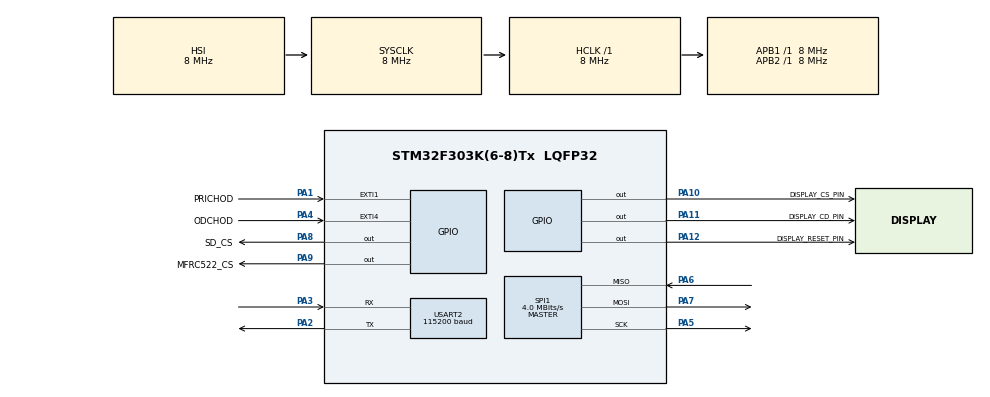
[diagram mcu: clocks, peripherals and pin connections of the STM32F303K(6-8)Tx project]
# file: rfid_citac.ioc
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FATFS._USE_LFN=1
Mcu.Family=STM32F3
Mcu.Name=STM32F303K(6-8)Tx
Mcu.Package=LQFP32
NVIC.EXTI1_IRQn=true\:0\:0\:false\:false\:true\:true\:true\:true
NVIC.EXTI4_IRQn=true\:0\:0\:false\:false\:true\:true\:true\:true
NVIC.PriorityGroup=NVIC_PRIORITYGROUP_4
PA1.GPIO_Label=PRICHOD
PA1.GPIO_ModeDefaultEXTI=GPIO_MODE_IT_FALLING
PA1.GPIO_PuPd=GPIO_PULLUP
PA1.Signal=GPXTI1
PA10.GPIO_Label=DISPLAY_CS_PIN
PA10.GPIO_Speed=GPIO_SPEED_FREQ_HIGH
PA10.PinState=GPIO_PIN_SET
PA10.Signal=GPIO_Output
PA11.GPIO_Label=DISPLAY_CD_PIN
PA11.GPIO_Speed=GPIO_SPEED_FREQ_HIGH
PA11.Signal=GPIO_Output
PA12.GPIO_Label=DISPLAY_RESET_PIN
PA12.GPIO_Speed=GPIO_SPEED_FREQ_HIGH
PA12.Signal=GPIO_Output
PA2.Mode=Asynchronous
PA2.Signal=USART2_TX
PA3.Mode=Asynchronous
PA3.Signal=USART2_RX
PA4.GPIO_Label=ODCHOD
PA4.GPIO_ModeDefaultEXTI=GPIO_MODE_IT_FALLING
PA4.GPIO_PuPd=GPIO_PULLUP
PA4.Signal=GPXTI4
PA5.GPIO_PuPd=GPIO_PULLUP
PA5.GPIO_Speed=GPIO_SPEED_FREQ_LOW
PA5.Mode=Full_Duplex_Master
PA5.Signal=SPI1_SCK
PA6.GPIO_PuPd=GPIO_PULLUP
PA6.GPIO_Speed=GPIO_SPEED_FREQ_LOW
PA6.Mode=Full_Duplex_Master
PA6.Signal=SPI1_MISO
PA7.GPIO_PuPd=GPIO_PULLUP
PA7.GPIO_Speed=GPIO_SPEED_FREQ_LOW
PA7.Mode=Full_Duplex_Master
PA7.Signal=SPI1_MOSI
PA8.GPIO_Label=SD_CS
PA8.PinState=GPIO_PIN_SET
PA8.Signal=GPIO_Output
PA9.GPIO_Label=MFRC522_CS
PA9.GPIO_Speed=GPIO_SPEED_FREQ_HIGH
PA9.PinState=GPIO_PIN_SET
PA9.Signal=GPIO_Output
ProjectManager.HeapSize=0x200
ProjectManager.StackSize=0x400
ProjectManager.TargetToolchain=STM32CubeIDE
RCC.AHBFreq_Value=8000000
RCC.APB1Freq_Value=8000000
RCC.APB2Freq_Value=8000000
RCC.CortexFreq_Value=8000000
RCC.HSE_VALUE=8000000
RCC.HSI_VALUE=8000000
RCC.SYSCLKFreq_VALUE=8000000
SPI1.CalculateBaudRate=4.0 MBits/s
SPI1.DataSize=SPI_DATASIZE_8BIT
SPI1.Direction=SPI_DIRECTION_2LINES
SPI1.Mode=SPI_MODE_MASTER
SPI1.NSSPMode=SPI_NSS_PULSE_DISABLE
SPI1.VirtualType=VM_MASTER
USART2.BaudRate=115200
USART2.VirtualMode-Asynchronous=VM_ASYNC
VP_FATFS_VS_Generic.Mode=User_defined
VP_RTC_VS_RTC_Activate.Mode=RTC_Enabled
VP_RTC_VS_RTC_Calendar.Mode=RTC_Calendar
board=custom

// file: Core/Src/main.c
/* USER CODE BEGIN Header */
/**
  ******************************************************************************
  * @file           : main.c
  * @brief          : Main program body
  ******************************************************************************
  * @attention
  *
  * Copyright (c) 2023 STMicroelectronics.
  * All rights reserved.
  *
  * This software is licensed under terms that can be found in the LICENSE file
  * in the root directory of this software component.
  * If no LICENSE file comes with this software, it is provided AS-IS.
  *
  ******************************************************************************
  */
/* USER CODE END Header */
#include "main.h"
#include "fatfs.h"
#include "rtc.h"
#include "spi.h"
#include "usart.h"
#include "gpio.h"

/* USER CODE BEGIN Includes */
#include "string.h"
#include "mfrc522.h"
#include "stdio.h"
#include "stm32f3xx_hal.h"
#include "stm32f3xx_hal_rtc.h"
#include "stm32f3xx_ll_rtc.h"
#include "stdio.h"
#include "string.h"
#include "stdlib.h"
#include "time.h"
#include "stm32f3xx_hal_conf.h"
#include "stm32f3xx_it.h"

#include <string.h>
/* USER CODE END Includes */

/* USER CODE BEGIN PV */
char version_buffer[128];
char message_buffer[128];
char buf_hex[12];

uint8_t uid_card_found = 0;

RTC_TimeTypeDef curTime;
RTC_DateTypeDef curDate;
UART_HandleTypeDef huart1;
char bld[40];
char tm[40];
char buf[25];
char *months[] = {"???", "Jan", "Feb", "Mar", "Apr", "May", "Jun", "Jul", "Aug", "Sep", "Oct", "Nov", "Dec"};
char *delim = " :";

#define BUFFER_SIZE 128
#define UART_BUFFER_SIZE 128

char buff[BUFFER_SIZE];
char uart_buf[UART_BUFFER_SIZE];

char bufftest[BUFFER_SIZE];

char path[BUFFER_SIZE];

uint8_t testMinutes = 0;
uint8_t compareMinutes = 0;

FATFS fs;
FATFS *pfs;
FIL fil;
FRESULT fres;
DWORD fre_clust;
uint32_t totalSpace, freeSpace;
uint32_t uart_buf_len;

uint8_t r;
uint8_t buttonState = 0;
uint8_t failedCard = 0;
/* USER CODE END PV */

void SystemClock_Config(void);

int main(void)
{

  /* MCU Configuration--------------------------------------------------------*/

  /* Reset of all peripherals, Initializes the Flash interface and the Systick. */
  HAL_Init();

  /* Configure the system clock */
  SystemClock_Config();

  /* Initialize all configured peripherals */
  MX_GPIO_Init();
  MX_SPI1_Init();
  MX_USART2_UART_Init();
  MX_FATFS_Init();
  MX_RTC_Init();
  /* USER CODE BEGIN 2 */

  resetBuffer(buff, BUFFER_SIZE);
  resetBuffer(uart_buf, UART_BUFFER_SIZE);
  resetBuffer(path, BUFFER_SIZE);

  uint8_t not_vypis = 0;
  HAL_Delay(1000);

  ILI9163_RegisterCallback(SPI_TransmitData);
  HAL_Delay(50);

  lcdInitialise(192);
  lcdClearDisplay(decodeRgbValue(0, 0, 0));
  lcdPutS("Stlacte tlacidlo...", lcdTextX(2), lcdTextY(8), decodeRgbValue(255, 255, 255), decodeRgbValue(0, 0, 0));

  HAL_Delay(1000);

  HAL_RTC_GetTime(&hrtc, &curTime, RTC_FORMAT_BIN);
  HAL_RTC_GetDate(&hrtc, &curDate, RTC_FORMAT_BIN);// Replace rtclock.breakTime(rtclock.now(), &curTime);
  RTC_DateTypeDef sDate;
  RTC_TimeTypeDef sTime;
  sDate.Year = 0x23; // Set the year (e.g., 2023 - 2000)
  sDate.Month = RTC_MONTH_JANUARY;
  sDate.Date = 0x1;
  sTime.Hours = 0x12;
  sTime.Minutes = 0x00;
  sTime.Seconds = 0x00;

  HAL_RTC_GetTime(&hrtc, &sTime, RTC_FORMAT_BIN);

  setBuildTime(&sDate, &sTime);

  if (HAL_RTC_SetTime(&hrtc, &sTime, RTC_FORMAT_BIN) != HAL_OK)
  {
    Error_Handler();
  }

  if (HAL_RTC_SetDate(&hrtc, &sDate, RTC_FORMAT_BIN) != HAL_OK)
  {
    Error_Handler();
  }

  // Initialize MFRC522 and read the version
  uint8_t status;
  char card_buffer[4];

  uint8_t testCardFlag = 0;
  int diffMinutes;

  MFRC522_PCD_Init();
  HAL_Delay(1000);

  /* USER CODE END 2 */
  // Enter sleep mode
   HAL_SuspendTick();
   HAL_PWR_EnterSLEEPMode(PWR_MAINREGULATOR_ON, PWR_SLEEPENTRY_WFI);

  /* Infinite loop */
  while (1)
  {

    /* USER CODE BEGIN 3 */
	  showClock(1);

	  if (buttonState > 0)
	  {
		  if (not_vypis == 0)
		  {
			  HAL_Delay(100);
			  lcdClearDisplay(decodeRgbValue(0, 0, 0));
			  lcdPutS("Prilozte kartu...", lcdTextX(2), lcdTextY(8), decodeRgbValue(255, 255, 255), decodeRgbValue(0, 0, 0));
			  HAL_Delay(100);
			  not_vypis = 1;
		  }

		  // Read card
		  if (uid_card_found == 0)
		  {
			  status = STATUS_ERROR;
			  status = MFRC522_PICC_RequestA(PICC_CMD_REQA, card_buffer);

			  if(status != STATUS_OK && !testCardFlag){
				  showClock(1);
				  compareMinutes = curTime.Minutes;
				  testCardFlag = 1;
			  }

			  else if(testCardFlag){
				  diffMinutes = testMinutes - compareMinutes;
				  if( diffMinutes < 0){
				  		diffMinutes = diffMinutes + 60;
				  }
				  if(diffMinutes >= 3){
					  buttonState = 0;
					  uid_card_found = 0;
					  not_vypis = 0;
					  testCardFlag = 0;
					  lcdClearDisplay(decodeRgbValue(0, 0, 0));
					  lcdPutS("Stlacte tlacidlo...", lcdTextX(2), lcdTextY(8), decodeRgbValue(255, 255, 255), decodeRgbValue(0, 0, 0));
		  			  // Enter sleep mode
					  HAL_SuspendTick();
					  HAL_PWR_EnterSLEEPMode(PWR_MAINREGULATOR_ON, PWR_SLEEPENTRY_WFI);
				  }
			  }

			  if (status == STATUS_OK)
		  		  {
		  			  memset(message_buffer, 0, sizeof(message_buffer));
		  			  snprintf(message_buffer, sizeof(message_buffer), "\n\r%X,%X,%X", card_buffer[0], card_buffer[1], card_buffer[2]);

		  			  HAL_UART_Transmit(&huart2, (uint8_t *)message_buffer, sizeof(message_buffer), 250);

		  			  status = MFRC522_PICC_Anticollision(card_buffer);
		  			  if (status == STATUS_OK)
		  			  {
		  				  memset(message_buffer, 0, sizeof(message_buffer));
		  				  snprintf(message_buffer, sizeof(message_buffer), "\n\rUID: %X %X %X %X", card_buffer[0], card_buffer[1], card_buffer[2], card_buffer[3]);

		  				  uid_card_found = 1;

		  				  HAL_UART_Transmit(&huart2, (uint8_t *)message_buffer, sizeof(message_buffer), 250);

		  			  }
		  		  }
		  }

		  	  if (uid_card_found == 1)
		  	  {
		  		  snprintf(buf_hex, sizeof(buf_hex), "%X_%X_%X_%X", card_buffer[0], card_buffer[1], card_buffer[2], card_buffer[3]);

  				  if(f_mount(&fs, "", 1) != FR_OK)
  					  Error_Handler();

		  		  r = createDirectory(buf_hex);
		  		  if(r == 0) {
		  			  Error_Handler();
		  		  }

		  		 char buf_hex_copy[12];
		  		 strcpy(buf_hex_copy,buf_hex);

				  if(strlen(bld) > 0)
					  createPathToFile(path, buf_hex, bld);

				  resetBuffer(buf_hex, sizeof(buf_hex));
				  strcpy(buf_hex, buf_hex_copy);

  				  HAL_Delay(1000);

				  r = openFileForAppend(&fil, path);
				  if(r == 0){
					  Error_Handler();
				  }

				  f_printf(&fil,"%s,%s,%s,%d;\n", buf_hex, bld, tm, buttonState);

				  // Output to LCD display
				  HAL_Delay(100);
				  lcdClearDisplay(decodeRgbValue(0, 0, 0));

				  switch (buttonState)
				  {
				  	  case 1:
						strcpy(buff,"Prichod: ");
						strcat(buff, tm);
						break;
				  	  case 2:
				  		strcpy(buff,"Odchod: ");
				  		strcat(buff, tm);
				  		break;
				  	  default:
				  		strcpy(buff,"Chyba");
		  		 		break;
				  	}

				  lcdPutS(buf_hex, lcdTextX(2), lcdTextY(1), decodeRgbValue(255, 255, 255), decodeRgbValue(0, 0, 0));
		 		  lcdPutS(buff, lcdTextX(2), lcdTextY(4), decodeRgbValue(255, 255, 255), decodeRgbValue(0, 0, 0));

		 		  // Close file
  				  fres = f_close(&fil);
 				  if (fres != FR_OK)
  					  Error_Handler();

 				  // Unmount SDCARD
  				  fres = f_mount(NULL, "", 1);
  				  if (fres != FR_OK)
  				      Error_Handler();

  				  // Clear display
  				  HAL_Delay(5000);
  				  lcdClearDisplay(decodeRgbValue(0, 0, 0));
  				  lcdPutS("Stlacte tlacidlo...", lcdTextX(2), lcdTextY(6), decodeRgbValue(255, 255, 255), decodeRgbValue(0, 0, 0));
  				  uid_card_found = 0;
  				  buttonState = 0;
  				  not_vypis = 0;

  				  resetBuffer(buff, BUFFER_SIZE);
  				  resetBuffer(bld, sizeof(bld));
  				  resetBuffer(tm, sizeof(tm));
  				  resetBuffer(buf_hex, sizeof(buf_hex));
  				 // Enter sleep mode
				   HAL_SuspendTick();
				   HAL_PWR_EnterSLEEPMode(PWR_MAINREGULATOR_ON, PWR_SLEEPENTRY_WFI);
		  	  }
	  }

  }
  /* USER CODE END 3 */
}

void SystemClock_Config(void)
{
  RCC_OscInitTypeDef RCC_OscInitStruct = {0};
  RCC_ClkInitTypeDef RCC_ClkInitStruct = {0};
  RCC_PeriphCLKInitTypeDef PeriphClkInit = {0};

  /** Initializes the RCC Oscillators according to the specified parameters
  * in the RCC_OscInitTypeDef structure.
  */
  RCC_OscInitStruct.OscillatorType = RCC_OSCILLATORTYPE_HSI|RCC_OSCILLATORTYPE_LSI;
  RCC_OscInitStruct.HSIState = RCC_HSI_ON;
  RCC_OscInitStruct.HSICalibrationValue = RCC_HSICALIBRATION_DEFAULT;
  RCC_OscInitStruct.LSIState = RCC_LSI_ON;
  RCC_OscInitStruct.PLL.PLLState = RCC_PLL_NONE;
  if (HAL_RCC_OscConfig(&RCC_OscInitStruct) != HAL_OK)
  {
    Error_Handler();
  }

  /** Initializes the CPU, AHB and APB buses clocks
  */
  RCC_ClkInitStruct.ClockType = RCC_CLOCKTYPE_HCLK|RCC_CLOCKTYPE_SYSCLK
                              |RCC_CLOCKTYPE_PCLK1|RCC_CLOCKTYPE_PCLK2;
  RCC_ClkInitStruct.SYSCLKSource = RCC_SYSCLKSOURCE_HSI;
  RCC_ClkInitStruct.AHBCLKDivider = RCC_SYSCLK_DIV1;
  RCC_ClkInitStruct.APB1CLKDivider = RCC_HCLK_DIV1;
  RCC_ClkInitStruct.APB2CLKDivider = RCC_HCLK_DIV1;

  if (HAL_RCC_ClockConfig(&RCC_ClkInitStruct, FLASH_LATENCY_0) != HAL_OK)
  {
    Error_Handler();
  }
  PeriphClkInit.PeriphClockSelection = RCC_PERIPHCLK_RTC;
  PeriphClkInit.RTCClockSelection = RCC_RTCCLKSOURCE_LSI;
  if (HAL_RCCEx_PeriphCLKConfig(&PeriphClkInit) != HAL_OK)
  {
    Error_Handler();
  }
}

/* USER CODE BEGIN 4 */

/**
  * @brief  EXTI line detection callback.
  * @param  GPIO_Pin Specifies the port pin connected to corresponding EXTI line.
  * @retval None
  */
void HAL_GPIO_EXTI_Callback(uint16_t GPIO_Pin)
{
	// Wake up from sleep mode
	HAL_ResumeTick();

	if(buttonState > 0)
		return;

	if (GPIO_Pin == PRICHOD_Pin)
	{
		buttonState = 1;
	}
	else if (GPIO_Pin == ODCHOD_Pin)
	{
		buttonState = 2;
	}
	else
	{
		buttonState = 0;
		__NOP();
	}
}

void resetBuffer(char* buffer, uint32_t buff_size)
{
	for(int i = 0; i < buff_size; i++)
		buffer[i] = '\0';
}

/**
  * @brief  RTC build funcion.
  * @note 	Extraction and separation of time and date.
  * @retval None
  */
void setBuildTime(RTC_DateTypeDef *date, RTC_TimeTypeDef *time)
{
    // Timestamp format: "Mar 3 2019 12:34:56"
    snprintf(bld, 40, "%s %s\n", __DATE__, __TIME__);
    char *token = strtok(bld, delim);
    while (token)
    {
        int m = str2month((const char *)token);
        if (m > 0)
        {
            date->Month = m;
            token = strtok(NULL, delim);
            date->Date = atoi(token);
            token = strtok(NULL, delim);
            date->Year = atoi(token) - 2000;
            token = strtok(NULL, delim);
            time->Hours = atoi(token);
            token = strtok(NULL, delim);
            time->Minutes = atoi(token);
            token = strtok(NULL, delim);
            time->Seconds = atoi(token);
        }
        token = strtok(NULL, delim);
    }
    snprintf(bld, 40, "%02d_%02d_%02d", date->Year + 2000, date->Month, date->Date);
    snprintf(tm, 40, "%02d:%02d:%02d", time->Hours, time->Minutes, time->Seconds);

}

/**
  * @brief 	Determinig month from string to number for RTC.
  * @retval Month.
  */
int str2month(const char *str) {
    for (int i = 0; i < 12; ++i) {
        if (strncmp(str, months[i], 3) == 0) {
            return i + 1;  // Months are 1-based in the RTC_DateTypeDef structure
        }
    }
    return -1;  // Invalid month
}

/**
  * @brief Function for accessing RTC as needed for our application.
  *
  */

void showClock(int seconds)
{
  char timeString[40];

  snprintf(bld, 40, "%s %s\n", __DATE__, __TIME__);

  HAL_RTC_GetTime(&hrtc, &curTime, RTC_FORMAT_BIN);
  HAL_RTC_GetDate(&hrtc, &curDate, RTC_FORMAT_BIN);

  // Format the time and date information
  snprintf(timeString, sizeof(timeString), "%02d:%02d:%02d, %02d-%02d-%02d\r\n",
           curTime.Hours, curTime.Minutes, curTime.Seconds,
           curDate.Date, curDate.Month, curDate.Year + 2000);

  snprintf(bld, 40, "%02d_%02d_%02d", curDate.Year + 2000, curDate.Month, curDate.Date);
  snprintf(tm, 40, "%02d:%02d:%02d", curTime.Hours, curTime.Minutes, curTime.Seconds);
  testMinutes = curTime.Minutes;
}

/* USER CODE END 4 */

void Error_Handler(void)
{
  __disable_irq();
  while (1)
  {
  }
}
